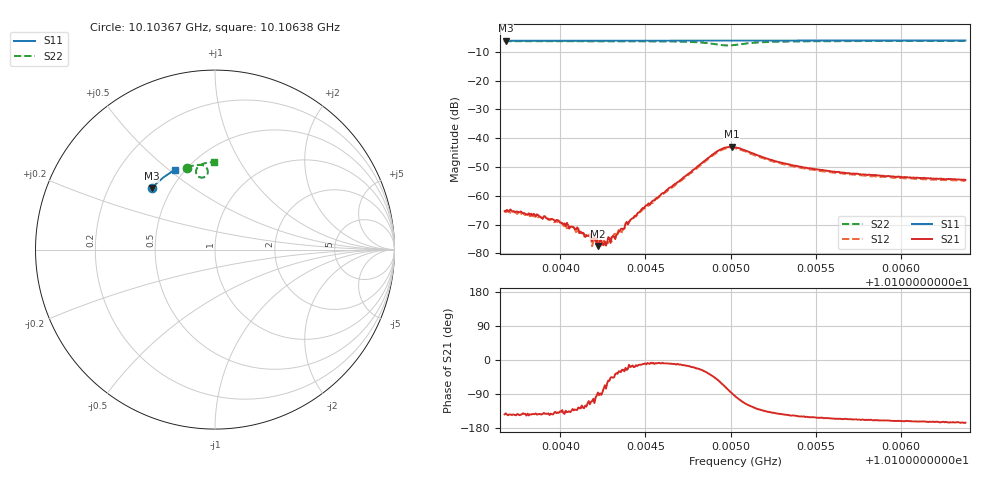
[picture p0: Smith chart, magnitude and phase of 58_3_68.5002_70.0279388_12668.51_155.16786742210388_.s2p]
#  HZ  S  RI  R  50.00
! Rohde & Schwarz Vector Network Analyzer
! Rohde-Schwarz,ZNB20-2Port,1311601062101988,3.16
! Created: UTC 3/20/2024, 4:51:08 PM
! freq[Hz]  re:S11  im:S11  re:S21  im:S21  re:S12  im:S12  re:S22  im:S22
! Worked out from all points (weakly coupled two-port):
!   401 points, 10.10367 GHz to 10.10638 GHz, reference 50 ohm
!   highest |S21| = -43.01 dB at 10.10501 GHz (marker M1); lowest = -77.5 dB at 10.10422 GHz (marker M2)
!   lowest |S11| = -6.2 dB at 10.10368 GHz (marker M3), VSWR 2.92, Z = 19.5 + j17.6 ohm
!   |S11| at or under -10 dB: nowhere
!   |S22| runs from -7.8 to -6.2 dB; largest |S21 - S12| = 0.0007
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1.0103672e10  -0.3521 0.3415  -0.000434 -0.000322  -0.000415 -0.000344  -0.1564 0.4567
1.0103679e10  -0.3517 0.3417  -0.000424 -0.000345  -0.00037 -0.000366  -0.156 0.4568
1.0103855e10  -0.3444 0.3497  -0.000337 -0.000271  -0.000316 -0.000306  -0.1443 0.4611
1.0103977e10  -0.3392 0.3551  -0.000289 -0.000241  -0.000259 -0.000279  -0.136 0.4638
1.0104092e10  -0.3345 0.3602  -0.000174 -0.000195  -0.000126 -0.000196  -0.1278 0.4663
1.0104126e10  -0.333 0.3616  -0.000112 -0.000194  -0.000117 -0.000212  -0.1251 0.467
1.0104187e10  -0.3303 0.3643  -5.13e-05 -0.000154  -2.16e-05 -0.000131  -0.1205 0.4682
1.0104221e10  -0.3291 0.3658  9.74e-06 -0.000134  2.83e-05 -0.000158  -0.1179 0.4687
1.0104261e10  -0.3272 0.3673  6.35e-05 -0.000148  7.71e-05 -0.000137  -0.1147 0.4695
1.0104288e10  -0.3261 0.3687  0.000106 -0.00015  0.000114 -0.000113  -0.1126 0.4701
1.0104329e10  -0.3242 0.3704  0.000171 -0.00012  0.000176 -8.64e-05  -0.1092 0.4706
1.0104363e10  -0.3227 0.3717  0.000242 -0.000115  0.000229 -7.83e-05  -0.1062 0.471
1.0104424e10  -0.3199 0.3742  0.000392 -0.000101  0.000397 -7.77e-05  -0.1009 0.472
1.010458e10  -0.3129 0.3808  0.000966 -0.000129  0.000942 -8.16e-05  -0.0846 0.4727
1.0104911e10  -0.2974 0.3936  0.00377 -0.00417  0.00398 -0.00365  -0.0411 0.4258
1.0104959e10  -0.2952 0.3949  0.00267 -0.00614  0.00312 -0.00566  -0.0547 0.4065
1.0105006e10  -0.2932 0.3969  0.000368 -0.00706  0.000937 -0.00672  -0.0799 0.4016
1.0105026e10  -0.2922 0.3976  -0.000637 -0.00693  -1.77e-06 -0.00668  -0.0897 0.4054
1.0105263e10  -0.2812 0.4067  -0.00307 -0.00255  -0.00277 -0.00269  -0.0931 0.4627
1.010548e10  -0.2705 0.4147  -0.00259 -0.00144  -0.00235 -0.0016  -0.0711 0.4761
1.0105934e10  -0.2477 0.43  -0.00205 -0.000752  -0.00187 -0.000902  -0.035 0.4853
1.010638e10  -0.2243 0.4437  -0.00182 -0.000471  -0.0017 -0.000625  -0.00358 0.4886
